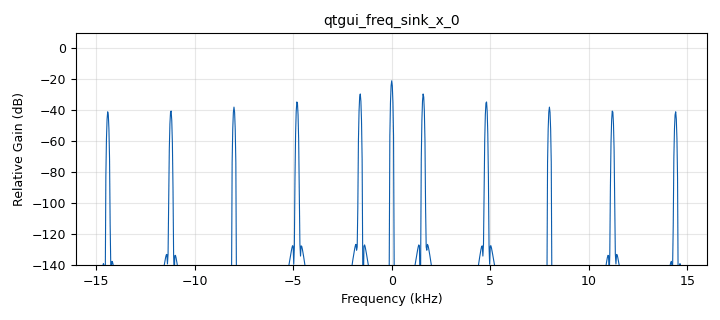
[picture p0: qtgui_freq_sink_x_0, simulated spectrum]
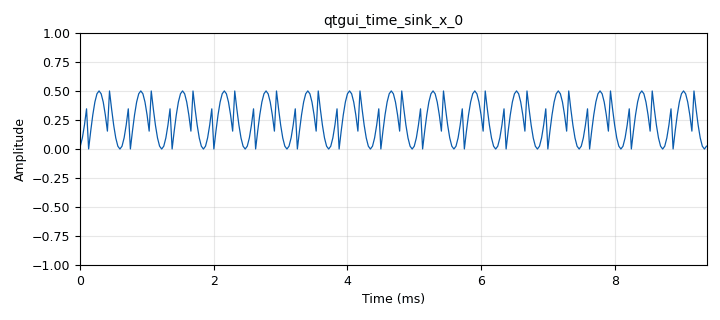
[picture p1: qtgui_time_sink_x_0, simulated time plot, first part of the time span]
options:
  parameters:
    author: labcom
    generate_options: qt_gui
    id: Lab0_1
    output_language: python
    title: Not titled yet
  states: {}

blocks:
- name: Amplitude
  id: variable_qtgui_range
  parameters:
    label: Amplitude
    start: '0'
    step: '00.1'
    stop: samp_rate
    value: '0.5'
  states: {}
- name: frequency
  id: variable_qtgui_range
  parameters:
    label: frequency
    start: '0'
    step: '00.1'
    stop: samp_rate
    value: samp_rate/20
  states: {}
- name: samp_rate
  id: variable
  parameters:
    value: '32000'
  states: {}
- name: analog_sig_source_x_0
  id: analog_sig_source_x
  parameters:
    amp: Amplitude
    freq: frequency
    offset: '0'
    phase: '0'
    samp_rate: samp_rate
    type: float
    waveform: analog.GR_SIN_WAVE
  states: {}
- name: analog_sig_source_x_1
  id: analog_sig_source_x
  parameters:
    amp: Amplitude
    freq: frequency
    offset: '0'
    phase: '0'
    samp_rate: samp_rate
    type: float
    waveform: analog.GR_SQR_WAVE
  states: {}
- name: blocks_add_xx_0
  id: blocks_add_xx
  parameters:
    type: float
  states: {}
- name: blocks_throttle_0
  id: blocks_throttle
  parameters:
    samples_per_second: samp_rate
    type: float
  states: {}
- name: qtgui_freq_sink_x_0
  id: qtgui_freq_sink_x
  parameters:
    bw: samp_rate
    fc: '0'
    fftsize: '1024'
    type: float
  states: {}
- name: qtgui_time_sink_x_0
  id: qtgui_time_sink_x
  parameters:
    size: '1024'
    srate: samp_rate
    type: float
  states: {}

connections:
- [analog_sig_source_x_0, '0', blocks_add_xx_0, '1']
- [analog_sig_source_x_1, '0', blocks_add_xx_0, '0']
- [blocks_add_xx_0, '0', blocks_throttle_0, '0']
- [blocks_throttle_0, '0', qtgui_freq_sink_x_0, '0']
- [blocks_throttle_0, '0', qtgui_time_sink_x_0, '0']

metadata:
  file_format: 1
  grc_version: 3.9.8.0
